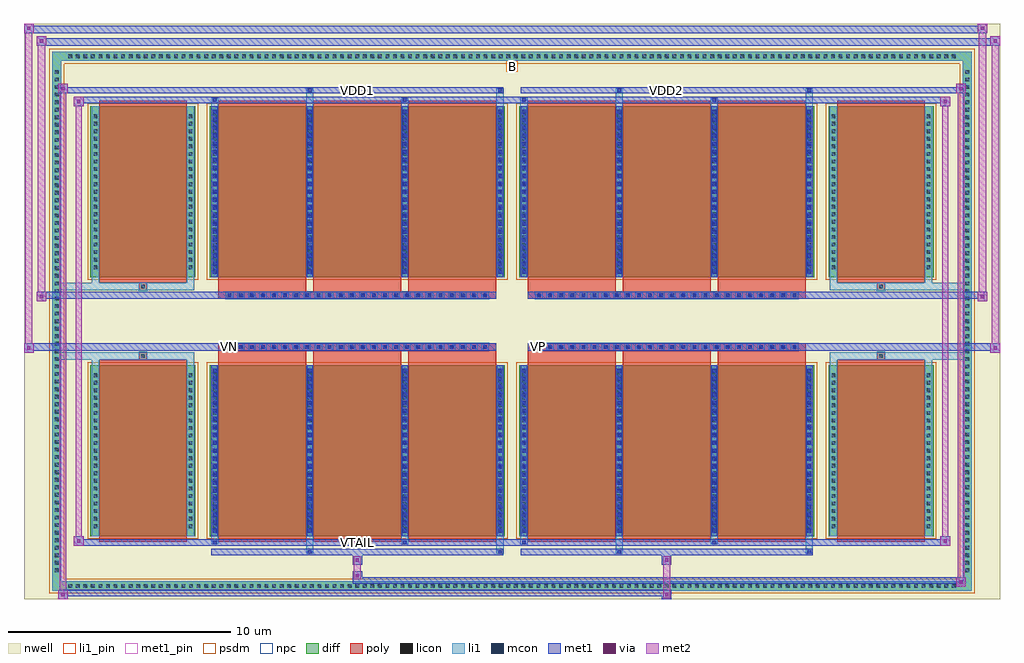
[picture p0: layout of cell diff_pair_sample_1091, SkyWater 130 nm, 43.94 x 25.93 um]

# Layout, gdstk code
import gdstk
lib = gdstk.Library(unit=1e-6, precision=5e-09)
def R(c, l, rs):  # rectangles x0, y0, x1, y1
    for r in rs: c.add(gdstk.rectangle(r[:2], r[2:], *l))
def A(c, l, x, y, w, h, nx, ny, dx, dy):  # array of equal rectangles
    R(c, l, [(x+i*dx, y+j*dy, x+i*dx+w, y+j*dy+h) for i in range(nx) for j in range(ny)])
def P(c, l, *ps):  # polygons
    for p in ps: c.add(gdstk.Polygon(p, *l))
nwell = (64, 20)
diff = (65, 20)
poly = (66, 20)
licon = (66, 44)
li1_pin = (67, 16)
li1 = (67, 20)
mcon = (67, 44)
met1_pin = (68, 16)
met1 = (68, 20)
via = (68, 44)
met2 = (69, 20)
psdm = (94, 20)
npc = (95, 20)

diff_pair_sample_1091 = lib.new_cell('diff_pair_sample_1091')
R(diff_pair_sample_1091, nwell, [(-21.97,-12.53,21.97,13.4), (-19.29,-10.72,-0.01,-0.8), (0.01,-10.72,19.29,-0.8), (-19.29,0.8,-0.01,10.72), (0.01,0.8,19.29,10.72)])
A(diff_pair_sample_1091, diff, -20.095, -12.13, 0.41, 0.41, 118, 2, 0.34, 23.85)
A(diff_pair_sample_1091, diff, -20.7, -11.425, 0.41, 0.41, 1, 67, 0, 0.34)
A(diff_pair_sample_1091, diff, 20.29, -11.425, 0.41, 0.41, 1, 67, 0, 0.34)
R(diff_pair_sample_1091, diff, [(-20.095,-12.13,20.095,-11.72), (-20.7,-11.425,-20.29,11.425), (20.29,-11.425,20.7,11.425), (-18.98,-9.675,-14.25,-1.985), (-13.61,-9.675,-0.32,-1.985), (0.32,-9.675,13.61,-1.985), (14.25,-9.675,18.98,-1.985), (-18.98,1.985,-14.25,9.675), (-13.61,1.985,-0.32,9.675), (0.32,1.985,13.61,9.675), (14.25,1.985,18.98,9.675), (-20.095,11.72,20.095,12.13)])
P(diff_pair_sample_1091, diff, [(20.7,12.13),(-20.7,12.13),(-20.7,-11.72),(-20.29,-11.72),(-20.29,11.72),(20.29,11.72),(20.29,-11.72),(-20.29,-11.72),(-20.7,-11.72),(-20.7,-12.13),(20.7,-12.13)])
A(diff_pair_sample_1091, poly, -13.22, -9.93, 3.95, 8.2, 3, 2, 4.28, 11.66)
A(diff_pair_sample_1091, poly, 0.71, -9.93, 3.95, 8.2, 3, 2, 4.28, 11.66)
A(diff_pair_sample_1091, poly, -13.22, -1.73, 3.95, 0.4, 3, 2, 4.28, 3.06)
A(diff_pair_sample_1091, poly, 0.71, -1.73, 3.95, 0.4, 3, 2, 4.28, 3.06)
A(diff_pair_sample_1091, poly, -12.88, -1.33, 0.33, 0.33, 24, 2, 0.5, 2.33)
A(diff_pair_sample_1091, poly, 1.05, -1.33, 0.33, 0.33, 24, 2, 0.5, 2.33)
R(diff_pair_sample_1091, poly, [(-18.59,-9.93,-14.64,-1.73), (14.64,-9.93,18.59,-1.73), (-16.78,-1.73,-16.45,-1.4), (-16.78,-1.73,-16.45,-1.4), (16.45,-1.73,16.78,-1.4), (16.45,-1.73,16.78,-1.4), (-13.22,-1.33,-0.71,-1), (0.71,-1.33,13.22,-1), (-13.22,1,-0.71,1.33), (0.71,1,13.22,1.33), (-16.78,1.4,-16.45,1.73), (-16.78,1.4,-16.45,1.73), (16.45,1.4,16.78,1.73), (16.45,1.4,16.78,1.73), (-18.59,1.73,-14.64,9.93), (14.64,1.73,18.59,9.93)])
A(diff_pair_sample_1091, licon, -19.975, -12.01, 0.17, 0.17, 118, 2, 0.34, 23.85)
A(diff_pair_sample_1091, licon, -20.58, -11.305, 0.17, 0.17, 1, 67, 0, 0.34)
A(diff_pair_sample_1091, licon, 20.41, -11.305, 0.17, 0.17, 1, 67, 0, 0.34)
A(diff_pair_sample_1091, licon, -18.84, -9.315, 0.17, 0.17, 1, 21, 0, 0.34)
A(diff_pair_sample_1091, licon, -14.56, -9.315, 0.17, 0.17, 1, 21, 0, 0.34)
A(diff_pair_sample_1091, licon, -13.47, -9.315, 0.17, 0.17, 4, 21, 4.28, 0.34)
A(diff_pair_sample_1091, licon, 0.46, -9.315, 0.17, 0.17, 4, 21, 4.28, 0.34)
A(diff_pair_sample_1091, licon, 14.39, -9.315, 0.17, 0.17, 1, 21, 0, 0.34)
A(diff_pair_sample_1091, licon, 18.67, -9.315, 0.17, 0.17, 1, 21, 0, 0.34)
A(diff_pair_sample_1091, licon, -12.8, -1.25, 0.17, 0.17, 24, 2, 0.5, 2.33)
A(diff_pair_sample_1091, licon, 1.13, -1.25, 0.17, 0.17, 24, 2, 0.5, 2.33)
A(diff_pair_sample_1091, licon, -18.84, 2.345, 0.17, 0.17, 1, 21, 0, 0.34)
A(diff_pair_sample_1091, licon, -14.56, 2.345, 0.17, 0.17, 1, 21, 0, 0.34)
A(diff_pair_sample_1091, licon, -13.47, 2.345, 0.17, 0.17, 4, 21, 4.28, 0.34)
A(diff_pair_sample_1091, licon, 0.46, 2.345, 0.17, 0.17, 4, 21, 4.28, 0.34)
A(diff_pair_sample_1091, licon, 14.39, 2.345, 0.17, 0.17, 1, 21, 0, 0.34)
A(diff_pair_sample_1091, licon, 18.67, 2.345, 0.17, 0.17, 1, 21, 0, 0.34)
R(diff_pair_sample_1091, licon, [(-16.7,-1.65,-16.53,-1.48), (16.53,-1.65,16.7,-1.48), (-16.7,1.48,-16.53,1.65), (16.53,1.48,16.7,1.65)])
R(diff_pair_sample_1091, li1_pin, [(-0.25,11.22,0.25,11.72)])
A(diff_pair_sample_1091, li1, -20.055, -12.09, 0.33, 0.33, 118, 2, 0.34, 23.85)
A(diff_pair_sample_1091, li1, -20.66, -11.385, 0.33, 0.33, 1, 67, 0, 0.34)
A(diff_pair_sample_1091, li1, 20.33, -11.385, 0.33, 0.33, 1, 67, 0, 0.34)
A(diff_pair_sample_1091, li1, -13.55, -9.675, 0.33, 7.69, 4, 2, 4.28, 11.66)
A(diff_pair_sample_1091, li1, 0.38, -9.675, 0.33, 7.69, 4, 2, 4.28, 11.66)
A(diff_pair_sample_1091, li1, -13.47, -9.515, 0.17, 0.17, 4, 21, 4.28, 0.36)
A(diff_pair_sample_1091, li1, -13.47, -9.515, 0.17, 7.37, 4, 2, 4.28, 11.66)
A(diff_pair_sample_1091, li1, 0.46, -9.515, 0.17, 0.17, 4, 21, 4.28, 0.36)
A(diff_pair_sample_1091, li1, 0.46, -9.515, 0.17, 7.37, 4, 2, 4.28, 11.66)
A(diff_pair_sample_1091, li1, -18.92, -9.395, 0.33, 0.33, 1, 21, 0, 0.34)
A(diff_pair_sample_1091, li1, -14.64, -9.395, 0.33, 0.33, 1, 21, 0, 0.34)
A(diff_pair_sample_1091, li1, -13.55, -9.395, 0.33, 0.33, 4, 21, 4.28, 0.34)
A(diff_pair_sample_1091, li1, 0.38, -9.395, 0.33, 0.33, 4, 21, 4.28, 0.34)
A(diff_pair_sample_1091, li1, 14.31, -9.395, 0.33, 0.33, 1, 21, 0, 0.34)
A(diff_pair_sample_1091, li1, 18.59, -9.395, 0.33, 0.33, 1, 21, 0, 0.34)
A(diff_pair_sample_1091, li1, -12.88, -1.33, 0.33, 0.33, 24, 2, 0.5, 2.33)
A(diff_pair_sample_1091, li1, 1.05, -1.33, 0.33, 0.33, 24, 2, 0.5, 2.33)
A(diff_pair_sample_1091, li1, -13.47, 2.145, 0.17, 0.17, 4, 21, 4.28, 0.36)
A(diff_pair_sample_1091, li1, 0.46, 2.145, 0.17, 0.17, 4, 21, 4.28, 0.36)
A(diff_pair_sample_1091, li1, -18.92, 2.265, 0.33, 0.33, 1, 21, 0, 0.34)
A(diff_pair_sample_1091, li1, -14.64, 2.265, 0.33, 0.33, 1, 21, 0, 0.34)
A(diff_pair_sample_1091, li1, -13.55, 2.265, 0.33, 0.33, 4, 21, 4.28, 0.34)
A(diff_pair_sample_1091, li1, 0.38, 2.265, 0.33, 0.33, 4, 21, 4.28, 0.34)
A(diff_pair_sample_1091, li1, 14.31, 2.265, 0.33, 0.33, 1, 21, 0, 0.34)
A(diff_pair_sample_1091, li1, 18.59, 2.265, 0.33, 0.33, 1, 21, 0, 0.34)
R(diff_pair_sample_1091, li1, [(-20.7,-12.13,-20.29,-11.72), (-20.7,-12.13,-20.29,-11.72), (-20.29,-12.13,20.29,-11.72), (20.29,-12.13,20.7,-11.72), (20.29,-12.13,20.7,-11.72), (-20.7,-11.72,-20.29,11.72), (20.29,-11.72,20.7,11.72), (-9.27,-10.48,-8.94,-9.675), (-9.19,-10.48,-9.02,-10.31), (-0.71,-10.48,-0.38,-9.675), (-0.63,-10.48,-0.46,-10.31), (4.66,-10.48,4.99,-9.675), (4.74,-10.48,4.91,-10.31), (13.22,-10.48,13.55,-9.675), (13.3,-10.48,13.47,-10.31), (-13.55,-10.05,-13.22,-9.675), (-13.47,-10.05,-13.3,-9.88), (-4.99,-10.05,-4.66,-9.675), (-4.91,-10.05,-4.74,-9.88), (0.38,-10.05,0.71,-9.675), (0.46,-10.05,0.63,-9.88), (8.94,-10.05,9.27,-9.675), (9.02,-10.05,9.19,-9.88), (-18.92,-9.675,-18.59,-1.985), (-14.64,-9.675,-14.31,-1.985), (14.31,-9.675,14.64,-1.985), (18.59,-9.675,18.92,-1.985), (-18.92,-1.985,-18.59,-1.4), (-14.64,-1.985,-14.31,-1.4), (14.31,-1.985,14.64,-1.4), (18.59,-1.985,18.92,-1.4), (-20.7,-1.73,-16.78,-1.4), (-18.92,-1.73,-16.78,-1.4), (-16.78,-1.73,-16.45,-1.4), (-16.45,-1.73,-14.31,-1.4), (14.31,-1.73,16.45,-1.4), (16.45,-1.73,16.78,-1.4), (16.45,-1.73,20.7,-1.4), (16.78,-1.73,18.92,-1.4), (-20.7,1.4,-16.78,1.73), (-18.92,1.4,-16.78,1.73), (-18.92,1.4,-18.59,1.985), (-16.78,1.4,-16.45,1.73), (-16.45,1.4,-14.31,1.73), (-14.64,1.4,-14.31,1.985), (14.31,1.4,16.45,1.73), (14.31,1.4,14.64,1.985), (16.45,1.4,16.78,1.73), (16.45,1.4,20.7,1.73), (16.78,1.4,18.92,1.73), (18.59,1.4,18.92,1.985), (-18.92,1.985,-18.59,9.675), (-14.64,1.985,-14.31,9.675), (14.31,1.985,14.64,9.675), (18.59,1.985,18.92,9.675), (-13.55,9.675,-13.22,10.05), (-9.27,9.675,-8.94,10.48), (-4.99,9.675,-4.66,10.05), (-0.71,9.675,-0.38,10.48), (0.38,9.675,0.71,10.05), (4.66,9.675,4.99,10.48), (8.94,9.675,9.27,10.05), (13.22,9.675,13.55,10.48), (-13.47,9.88,-13.3,10.05), (-4.91,9.88,-4.74,10.05), (0.46,9.88,0.63,10.05), (9.02,9.88,9.19,10.05), (-9.19,10.31,-9.02,10.48), (-0.63,10.31,-0.46,10.48), (4.74,10.31,4.91,10.48), (13.3,10.31,13.47,10.48), (-20.7,11.72,-20.29,12.13), (-20.7,11.72,-20.29,12.13), (-20.29,11.72,20.29,12.13), (20.29,11.72,20.7,12.13), (20.29,11.72,20.7,12.13)])
A(diff_pair_sample_1091, mcon, -13.47, -9.515, 0.17, 0.17, 4, 21, 4.28, 0.36)
A(diff_pair_sample_1091, mcon, 0.46, -9.515, 0.17, 0.17, 4, 21, 4.28, 0.36)
A(diff_pair_sample_1091, mcon, -12.8, -1.25, 0.17, 0.17, 24, 2, 0.5, 2.33)
A(diff_pair_sample_1091, mcon, 1.13, -1.25, 0.17, 0.17, 24, 2, 0.5, 2.33)
A(diff_pair_sample_1091, mcon, -13.47, 2.145, 0.17, 0.17, 4, 21, 4.28, 0.36)
A(diff_pair_sample_1091, mcon, 0.46, 2.145, 0.17, 0.17, 4, 21, 4.28, 0.36)
R(diff_pair_sample_1091, mcon, [(-9.19,-10.48,-9.02,-10.31), (-0.63,-10.48,-0.46,-10.31), (4.74,-10.48,4.91,-10.31), (13.3,-10.48,13.47,-10.31), (-13.47,-10.05,-13.3,-9.88), (-4.91,-10.05,-4.74,-9.88), (0.46,-10.05,0.63,-9.88), (9.02,-10.05,9.19,-9.88), (-13.47,9.88,-13.3,10.05), (-4.91,9.88,-4.74,10.05), (0.46,9.88,0.63,10.05), (9.02,9.88,9.19,10.05), (-9.19,10.31,-9.02,10.48), (-0.63,10.31,-0.46,10.48), (4.74,10.31,4.91,10.48), (13.3,10.31,13.47,10.48)])
R(diff_pair_sample_1091, met1_pin, [(-7.1,-10.09,-6.83,-9.82), (-12.85,-1.29,-12.58,-1.02), (1.08,-1.29,1.35,-1.02), (-7.1,10.27,-6.83,10.54), (6.83,10.27,7.1,10.54)])
A(diff_pair_sample_1091, met1, -13.53, -9.675, 0.29, 7.69, 4, 2, 4.28, 11.66)
A(diff_pair_sample_1091, met1, 0.4, -9.675, 0.29, 7.69, 4, 2, 4.28, 11.66)
A(diff_pair_sample_1091, met1, -13.53, -9.575, 0.29, 0.29, 4, 21, 4.28, 0.36)
A(diff_pair_sample_1091, met1, 0.4, -9.575, 0.29, 0.29, 4, 21, 4.28, 0.36)
A(diff_pair_sample_1091, met1, -12.86, -1.31, 0.29, 0.29, 24, 2, 0.5, 2.33)
A(diff_pair_sample_1091, met1, 1.07, -1.31, 0.29, 0.29, 24, 2, 0.5, 2.33)
A(diff_pair_sample_1091, met1, -13.53, 2.085, 0.29, 0.29, 4, 21, 4.28, 0.36)
A(diff_pair_sample_1091, met1, 0.4, 2.085, 0.29, 0.29, 4, 21, 4.28, 0.36)
R(diff_pair_sample_1091, met1, [(-20.43,-12.53,-20,-12.1), (6.75,-12.53,7.18,-12.1), (-20.43,-12.39,7.18,-12.1), (20,-11.96,20.43,-11.53), (-7.18,-11.82,20.43,-11.53), (-7.18,-11.68,-6.75,-11.25), (-7.18,-10.97,-6.75,-10.54), (6.75,-10.97,7.18,-10.54), (-13.53,-10.54,-0.4,-10.25), (-9.25,-10.54,-8.96,-10.25), (-0.69,-10.54,-0.4,-10.25), (0.4,-10.54,13.53,-10.25), (4.68,-10.54,4.97,-10.25), (13.24,-10.54,13.53,-10.25), (-19.72,-10.11,-19.29,-9.68), (-19.72,-10.11,-13.53,-9.82), (-13.53,-10.11,-13.24,-9.82), (-13.53,-10.11,-0.4,-9.82), (-4.97,-10.11,-4.68,-9.82), (-0.4,-10.11,0.4,-9.82), (0.4,-10.11,0.69,-9.82), (0.4,-10.11,13.53,-9.82), (8.96,-10.11,9.25,-9.82), (13.53,-10.11,19.72,-9.82), (19.29,-10.11,19.72,-9.68), (-21.97,-1.43,-21.54,-1), (21.54,-1.43,21.97,-1), (-21.97,-1.33,-0.71,-1), (-13.22,-1.33,-0.71,-1), (0.71,-1.33,13.22,-1), (0.71,-1.33,21.97,-1), (-21.4,0.9,-20.97,1.33), (20.97,0.9,21.4,1.33), (-21.4,1,-13.22,1.33), (-13.22,1,-0.71,1.33), (0.71,1,13.22,1.33), (13.22,1,21.4,1.33), (-19.72,9.68,-19.29,10.11), (19.29,9.68,19.72,10.11), (-19.72,9.82,-13.53,10.11), (-13.53,9.82,-13.24,10.11), (-13.53,9.82,-0.4,10.11), (-4.97,9.82,-4.68,10.11), (-0.4,9.82,0.4,10.11), (0.4,9.82,0.69,10.11), (0.4,9.82,13.53,10.11), (8.96,9.82,9.25,10.11), (13.53,9.82,19.72,10.11), (-20.43,10.25,-20,10.68), (-20.43,10.25,-13.53,10.54), (-13.53,10.25,-0.4,10.54), (-9.25,10.25,-8.96,10.54), (-0.69,10.25,-0.4,10.54), (0.4,10.25,13.53,10.54), (4.68,10.25,4.97,10.54), (13.24,10.25,13.53,10.54), (13.53,10.25,20.43,10.54), (20,10.25,20.43,10.68), (-21.4,12.4,-20.97,12.83), (-21.4,12.4,-19.29,12.73), (-19.29,12.4,19.29,12.73), (19.29,12.4,21.97,12.73), (21.54,12.4,21.97,12.83), (-21.97,12.97,-21.54,13.4), (-21.97,12.97,-19.29,13.3), (-19.29,12.97,19.29,13.3), (19.29,12.97,21.4,13.3), (20.97,12.97,21.4,13.4)])
R(diff_pair_sample_1091, via, [(-20.29,-12.39,-20.14,-12.24), (6.89,-12.39,7.04,-12.24), (20.14,-11.82,20.29,-11.67), (-7.04,-11.54,-6.89,-11.39), (-7.04,-10.83,-6.89,-10.68), (6.89,-10.83,7.04,-10.68), (-19.58,-9.97,-19.43,-9.82), (19.43,-9.97,19.58,-9.82), (-21.83,-1.29,-21.68,-1.14), (21.68,-1.29,21.83,-1.14), (-21.26,1.04,-21.11,1.19), (21.11,1.04,21.26,1.19), (-19.58,9.82,-19.43,9.97), (19.43,9.82,19.58,9.97), (-20.29,10.39,-20.14,10.54), (20.14,10.39,20.29,10.54), (-21.26,12.54,-21.11,12.69), (21.68,12.54,21.83,12.69), (-21.83,13.11,-21.68,13.26), (21.11,13.11,21.26,13.26)])
R(diff_pair_sample_1091, met2, [(-20.43,-12.53,-20,-12.1), (-20.36,-12.53,-20.07,10.68), (-20.07,-12.53,-20,-12.1), (-20.38,-12.48,-20.05,-12.15), (6.8,-12.48,7.13,-12.15), (6.8,-12.15,7.13,-10.92), (20,-11.96,20.43,-11.53), (20.07,-11.96,20.36,10.68), (20.36,-11.96,20.43,-11.53), (20.05,-11.91,20.38,-11.58), (-7.13,-11.63,-6.8,-11.3), (-7.13,-11.3,-6.8,-10.92), (-7.13,-10.92,-6.8,-10.59), (6.8,-10.92,7.13,-10.59), (-19.72,-10.11,-19.29,-9.68), (-19.65,-10.11,-19.36,10.11), (-19.36,-10.11,-19.29,-9.68), (19.29,-10.11,19.72,-9.68), (19.36,-10.11,19.65,10.11), (19.65,-10.11,19.72,-9.68), (-19.67,-10.06,-19.34,-9.73), (19.34,-10.06,19.67,-9.73), (-21.97,-1.43,-21.54,-1), (-21.92,-1.43,-21.59,13.4), (-21.59,-1.43,-21.54,-1), (21.54,-1.43,21.97,-1), (21.59,-1.43,21.92,12.83), (21.92,-1.43,21.97,-1), (-21.92,-1.38,-21.59,-1.05), (21.59,-1.38,21.92,-1.05), (-21.4,0.9,-20.97,1.33), (-21.35,0.9,-21.02,12.83), (-21.02,0.9,-20.97,1.33), (20.97,0.9,21.4,1.33), (21.02,0.9,21.35,13.4), (21.35,0.9,21.4,1.33), (-21.35,0.95,-21.02,1.28), (21.02,0.95,21.35,1.28), (-19.72,9.68,-19.29,10.11), (-19.36,9.68,-19.29,10.11), (19.29,9.68,19.72,10.11), (19.65,9.68,19.72,10.11), (-19.67,9.73,-19.34,10.06), (19.34,9.73,19.67,10.06), (-20.43,10.25,-20,10.68), (-20.07,10.25,-20,10.68), (20,10.25,20.43,10.68), (20.36,10.25,20.43,10.68), (-20.38,10.3,-20.05,10.63), (20.05,10.3,20.38,10.63), (-21.4,12.4,-20.97,12.83), (-21.02,12.4,-20.97,12.83), (21.54,12.4,21.97,12.83), (21.92,12.4,21.97,12.83), (-21.35,12.45,-21.02,12.78), (21.59,12.45,21.92,12.78), (-21.97,12.97,-21.54,13.4), (-21.59,12.97,-21.54,13.4), (20.97,12.97,21.4,13.4), (21.35,12.97,21.4,13.4), (-21.92,13.02,-21.59,13.35), (21.02,13.02,21.35,13.35)])
R(diff_pair_sample_1091, psdm, [(-19.11,-9.805,-14.12,-1.855), (-13.74,-9.805,-0.19,-1.855), (0.19,-9.805,13.74,-1.855), (14.12,-9.805,19.11,-1.855), (-19.11,1.855,-14.12,9.805), (-13.74,1.855,-0.19,9.805), (0.19,1.855,13.74,9.805), (14.12,1.855,19.11,9.805)])
P(diff_pair_sample_1091, psdm, [(20.83,12.26),(-20.83,12.26),(-20.83,-11.59),(-20.16,-11.59),(-20.16,11.59),(20.16,11.59),(20.16,-11.59),(-20.16,-11.59),(-20.83,-11.59),(-20.83,-12.26),(20.83,-12.26)])
A(diff_pair_sample_1091, npc, -12.9, -1.35, 0.37, 0.37, 24, 2, 0.5, 2.33)
A(diff_pair_sample_1091, npc, 1.03, -1.35, 0.37, 0.37, 24, 2, 0.5, 2.33)
R(diff_pair_sample_1091, npc, [(-16.8,-1.75,-16.43,-1.38), (16.43,-1.75,16.8,-1.38), (-12.9,-1.35,-12.03,-0.98), (-12.9,-1.35,-12.03,-0.98), (-12.4,-1.35,-11.53,-0.98), (-12.4,-1.35,-11.53,-0.98), (-11.9,-1.35,-11.03,-0.98), (-11.9,-1.35,-11.03,-0.98), (-11.4,-1.35,-10.53,-0.98), (-11.4,-1.35,-10.53,-0.98), (-10.9,-1.35,-10.03,-0.98), (-10.9,-1.35,-10.03,-0.98), (-10.4,-1.35,-9.53,-0.98), (-10.4,-1.35,-9.53,-0.98), (-9.9,-1.35,-9.03,-0.98), (-9.9,-1.35,-9.03,-0.98), (-9.4,-1.35,-8.53,-0.98), (-9.4,-1.35,-8.53,-0.98), (-8.9,-1.35,-8.03,-0.98), (-8.9,-1.35,-8.03,-0.98), (-8.4,-1.35,-7.53,-0.98), (-8.4,-1.35,-7.53,-0.98), (-7.9,-1.35,-7.03,-0.98), (-7.9,-1.35,-7.03,-0.98), (-7.4,-1.35,-6.53,-0.98), (-7.4,-1.35,-6.53,-0.98), (-6.9,-1.35,-6.03,-0.98), (-6.9,-1.35,-6.03,-0.98), (-6.4,-1.35,-5.53,-0.98), (-6.4,-1.35,-5.53,-0.98), (-5.9,-1.35,-5.03,-0.98), (-5.9,-1.35,-5.03,-0.98), (-5.4,-1.35,-4.53,-0.98), (-5.4,-1.35,-4.53,-0.98), (-4.9,-1.35,-4.03,-0.98), (-4.9,-1.35,-4.03,-0.98), (-4.4,-1.35,-3.53,-0.98), (-4.4,-1.35,-3.53,-0.98), (-3.9,-1.35,-3.03,-0.98), (-3.9,-1.35,-3.03,-0.98), (-3.4,-1.35,-2.53,-0.98), (-3.4,-1.35,-2.53,-0.98), (-2.9,-1.35,-2.03,-0.98), (-2.9,-1.35,-2.03,-0.98), (-2.4,-1.35,-1.53,-0.98), (-2.4,-1.35,-1.53,-0.98), (-1.9,-1.35,-1.03,-0.98), (-1.9,-1.35,-1.03,-0.98), (1.03,-1.35,1.9,-0.98), (1.03,-1.35,1.9,-0.98), (1.53,-1.35,2.4,-0.98), (1.53,-1.35,2.4,-0.98), (2.03,-1.35,2.9,-0.98), (2.03,-1.35,2.9,-0.98), (2.53,-1.35,3.4,-0.98), (2.53,-1.35,3.4,-0.98), (3.03,-1.35,3.9,-0.98), (3.03,-1.35,3.9,-0.98), (3.53,-1.35,4.4,-0.98), (3.53,-1.35,4.4,-0.98), (4.03,-1.35,4.9,-0.98), (4.03,-1.35,4.9,-0.98), (4.53,-1.35,5.4,-0.98), (4.53,-1.35,5.4,-0.98), (5.03,-1.35,5.9,-0.98), (5.03,-1.35,5.9,-0.98), (5.53,-1.35,6.4,-0.98), (5.53,-1.35,6.4,-0.98), (6.03,-1.35,6.9,-0.98), (6.03,-1.35,6.9,-0.98), (6.53,-1.35,7.4,-0.98), (6.53,-1.35,7.4,-0.98), (7.03,-1.35,7.9,-0.98), (7.03,-1.35,7.9,-0.98), (7.53,-1.35,8.4,-0.98), (7.53,-1.35,8.4,-0.98), (8.03,-1.35,8.9,-0.98), (8.03,-1.35,8.9,-0.98), (8.53,-1.35,9.4,-0.98), (8.53,-1.35,9.4,-0.98), (9.03,-1.35,9.9,-0.98), (9.03,-1.35,9.9,-0.98), (9.53,-1.35,10.4,-0.98), (9.53,-1.35,10.4,-0.98), (10.03,-1.35,10.9,-0.98), (10.03,-1.35,10.9,-0.98), (10.53,-1.35,11.4,-0.98), (10.53,-1.35,11.4,-0.98), (11.03,-1.35,11.9,-0.98), (11.03,-1.35,11.9,-0.98), (11.53,-1.35,12.4,-0.98), (11.53,-1.35,12.4,-0.98), (12.03,-1.35,12.9,-0.98), (12.03,-1.35,12.9,-0.98), (-12.9,0.98,-12.03,1.35), (-12.9,0.98,-12.03,1.35), (-12.4,0.98,-11.53,1.35), (-12.4,0.98,-11.53,1.35), (-11.9,0.98,-11.03,1.35), (-11.9,0.98,-11.03,1.35), (-11.4,0.98,-10.53,1.35), (-11.4,0.98,-10.53,1.35), (-10.9,0.98,-10.03,1.35), (-10.9,0.98,-10.03,1.35), (-10.4,0.98,-9.53,1.35), (-10.4,0.98,-9.53,1.35), (-9.9,0.98,-9.03,1.35), (-9.9,0.98,-9.03,1.35), (-9.4,0.98,-8.53,1.35), (-9.4,0.98,-8.53,1.35), (-8.9,0.98,-8.03,1.35), (-8.9,0.98,-8.03,1.35), (-8.4,0.98,-7.53,1.35), (-8.4,0.98,-7.53,1.35), (-7.9,0.98,-7.03,1.35), (-7.9,0.98,-7.03,1.35), (-7.4,0.98,-6.53,1.35), (-7.4,0.98,-6.53,1.35), (-6.9,0.98,-6.03,1.35), (-6.9,0.98,-6.03,1.35), (-6.4,0.98,-5.53,1.35), (-6.4,0.98,-5.53,1.35), (-5.9,0.98,-5.03,1.35), (-5.9,0.98,-5.03,1.35), (-5.4,0.98,-4.53,1.35), (-5.4,0.98,-4.53,1.35), (-4.9,0.98,-4.03,1.35), (-4.9,0.98,-4.03,1.35), (-4.4,0.98,-3.53,1.35), (-4.4,0.98,-3.53,1.35), (-3.9,0.98,-3.03,1.35), (-3.9,0.98,-3.03,1.35), (-3.4,0.98,-2.53,1.35), (-3.4,0.98,-2.53,1.35), (-2.9,0.98,-2.03,1.35), (-2.9,0.98,-2.03,1.35), (-2.4,0.98,-1.53,1.35), (-2.4,0.98,-1.53,1.35), (-1.9,0.98,-1.03,1.35), (-1.9,0.98,-1.03,1.35), (1.03,0.98,1.9,1.35), (1.03,0.98,1.9,1.35), (1.53,0.98,2.4,1.35), (1.53,0.98,2.4,1.35), (2.03,0.98,2.9,1.35), (2.03,0.98,2.9,1.35), (2.53,0.98,3.4,1.35), (2.53,0.98,3.4,1.35), (3.03,0.98,3.9,1.35), (3.03,0.98,3.9,1.35), (3.53,0.98,4.4,1.35), (3.53,0.98,4.4,1.35), (4.03,0.98,4.9,1.35), (4.03,0.98,4.9,1.35), (4.53,0.98,5.4,1.35), (4.53,0.98,5.4,1.35), (5.03,0.98,5.9,1.35), (5.03,0.98,5.9,1.35), (5.53,0.98,6.4,1.35), (5.53,0.98,6.4,1.35), (6.03,0.98,6.9,1.35), (6.03,0.98,6.9,1.35), (6.53,0.98,7.4,1.35), (6.53,0.98,7.4,1.35), (7.03,0.98,7.9,1.35), (7.03,0.98,7.9,1.35), (7.53,0.98,8.4,1.35), (7.53,0.98,8.4,1.35), (8.03,0.98,8.9,1.35), (8.03,0.98,8.9,1.35), (8.53,0.98,9.4,1.35), (8.53,0.98,9.4,1.35), (9.03,0.98,9.9,1.35), (9.03,0.98,9.9,1.35), (9.53,0.98,10.4,1.35), (9.53,0.98,10.4,1.35), (10.03,0.98,10.9,1.35), (10.03,0.98,10.9,1.35), (10.53,0.98,11.4,1.35), (10.53,0.98,11.4,1.35), (11.03,0.98,11.9,1.35), (11.03,0.98,11.9,1.35), (11.53,0.98,12.4,1.35), (11.53,0.98,12.4,1.35), (12.03,0.98,12.9,1.35), (12.03,0.98,12.9,1.35), (-16.8,1.38,-16.43,1.75), (16.43,1.38,16.8,1.75)])
diff_pair_sample_1091.add(gdstk.Label('VTAIL', (-6.965,-9.955), layer=68, texttype=5))
diff_pair_sample_1091.add(gdstk.Label('VN', (-12.715,-1.155), layer=68, texttype=5))
diff_pair_sample_1091.add(gdstk.Label('VP', (1.215,-1.155), layer=68, texttype=5))
diff_pair_sample_1091.add(gdstk.Label('B', (0,11.47), layer=67, texttype=5))
diff_pair_sample_1091.add(gdstk.Label('VDD2', (6.965,10.405), layer=68, texttype=5))
diff_pair_sample_1091.add(gdstk.Label('VDD1', (-6.965,10.405), layer=68, texttype=5))

lib.write_gds('diff_pair_sample_1091.gds')
